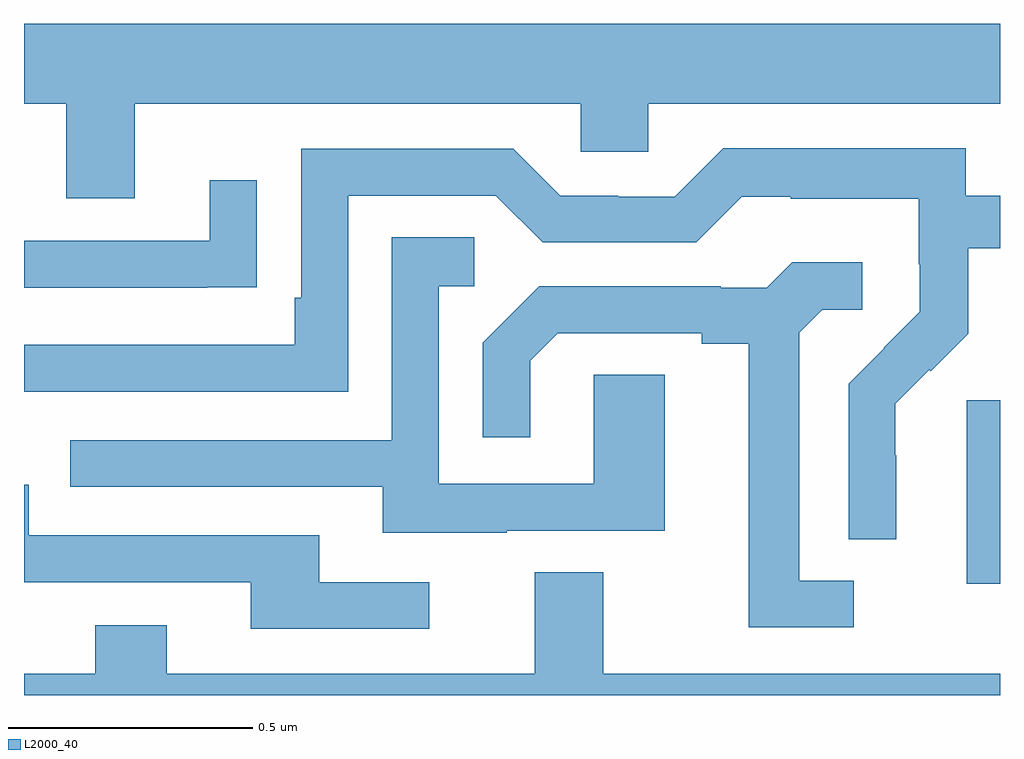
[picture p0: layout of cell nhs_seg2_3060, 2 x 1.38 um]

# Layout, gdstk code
import gdstk
lib = gdstk.Library(unit=1e-6, precision=1e-09)
def R(c, l, rs):  # rectangles x0, y0, x1, y1
    for r in rs: c.add(gdstk.rectangle(r[:2], r[2:], *l))
def P(c, l, *ps):  # polygons
    for p in ps: c.add(gdstk.Polygon(p, *l))
L2000_40 = (2000, 40)

nhs_seg2_3060 = lib.new_cell('nhs_seg2_3060')
R(nhs_seg2_3060, L2000_40, [(150.932,604.028,151,604.405)])
P(nhs_seg2_3060, L2000_40, [(149.227,605.012),(150.141,605.012),(150.141,604.914),(150.279,604.914),(150.279,605.012),(151,605.012),(151,605.176),(149,605.176),(149,605.012),(149.087,605.012),(149.087,604.818),(149.227,604.818)],
  [(150.787,604.292),(150.785,604.292),(150.785,604.397),(150.855,604.467),(150.858,604.464),(150.935,604.541),(150.935,604.716),(151,604.716),(151,604.824),(150.93,604.824),(150.93,604.921),(150.433,604.921),(150.333,604.821),(150.218,604.821),(150.218,604.824),(150.099,604.824),(150.003,604.92),(149.568,604.92),(149.568,604.615),(149.555,604.615),(149.555,604.518),(149,604.518),(149,604.422),(149.664,604.422),(149.664,604.824),(149.967,604.824),(150.063,604.728),(150.378,604.728),(150.471,604.821),(150.571,604.821),(150.571,604.817),(150.834,604.817),(150.834,604.683),(150.836,604.683),(150.836,604.586),(150.762,604.512),(150.763,604.511),(150.69,604.438),(150.69,604.12),(150.787,604.12)],
  [(149.375,604.636),(149.477,604.636),(149.477,604.855),(149.381,604.855),(149.381,604.731),(149,604.731),(149,604.635),(149.375,604.635)],
  [(149.989,604.137),(150.313,604.137),(150.313,604.457),(150.168,604.457),(150.168,604.233),(149.85,604.233),(149.85,604.638),(149.923,604.638),(149.923,604.739),(149.754,604.739),(149.754,604.323),(149.095,604.323),(149.095,604.227),(149.735,604.227),(149.735,604.133),(149.989,604.133)],
  [(150.7,604.035),(150.589,604.035),(150.589,604.543),(150.636,604.59),(150.718,604.59),(150.718,604.687),(150.574,604.687),(150.522,604.635),(150.428,604.635),(150.428,604.638),(150.056,604.638),(149.94,604.522),(149.94,604.329),(150.037,604.329),(150.037,604.485),(150.094,604.542),(150.389,604.542),(150.389,604.52),(150.485,604.52),(150.485,603.939),(150.7,603.939)],
  [(149.83,604.032),(149.605,604.032),(149.605,604.128),(149.01,604.128),(149.01,604.231),(149,604.231),(149,604.032),(149.465,604.032),(149.465,603.936),(149.83,603.936)],
  [(151,603.844),(150.187,603.844),(150.187,604.052),(150.047,604.052),(150.047,603.844),(149.293,603.844),(149.293,603.943),(149.146,603.943),(149.146,603.844),(149,603.844),(149,603.8),(151,603.8)])

lib.write_gds('nhs_seg2_3060.gds')
